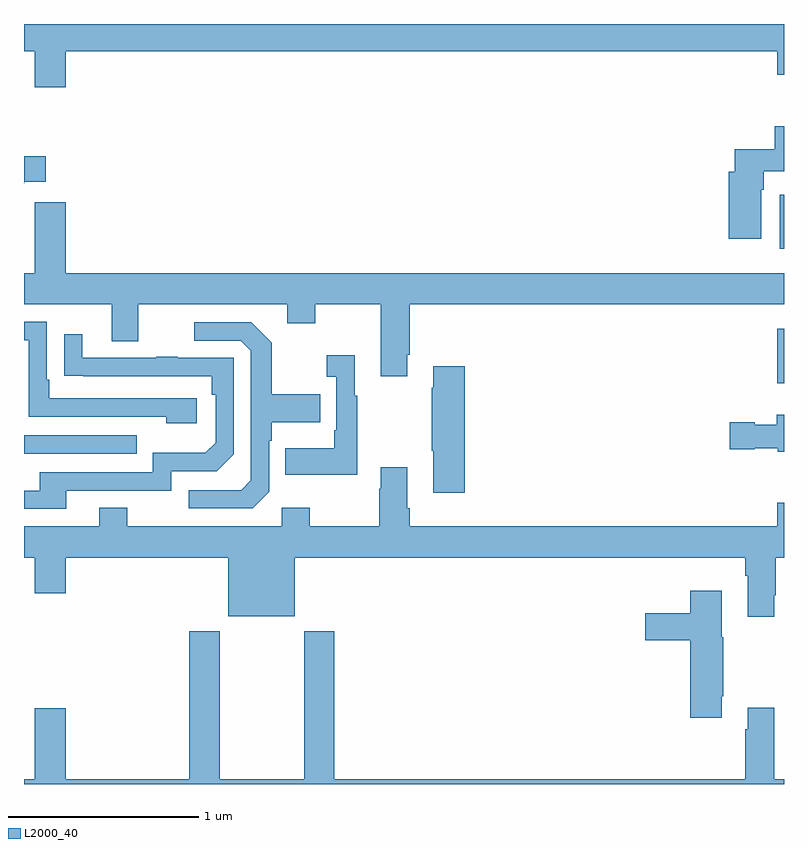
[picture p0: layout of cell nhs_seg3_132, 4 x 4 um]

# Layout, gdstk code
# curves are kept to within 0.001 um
import gdstk
lib = gdstk.Library(unit=1e-6, precision=1e-09)
def R(c, l, rs):  # rectangles x0, y0, x1, y1
    for r in rs: c.add(gdstk.rectangle(r[:2], r[2:], *l))
def P(c, l, *ps):  # polygons
    for p in ps: c.add(gdstk.Polygon(p, *l))
L2000_40 = (2000, 40)

nhs_seg3_132 = lib.new_cell('nhs_seg3_132')
R(nhs_seg3_132, L2000_40, [(117,692.139,117.593,692.235), (120.965,692.51,121,692.797), (120.977,693.216,121,693.502)])
P(nhs_seg3_132, L2000_40, [(117.22,694.256),(120.965,694.256),(120.965,694.132),(121,694.132),(121,694.4),(117,694.4),(117,694.256),(117.056,694.256),(117.056,694.068),(117.22,694.068)],
  [(120.88,693.527),(120.893,693.527),(120.893,693.624),(121,693.624),(121,693.862),(120.95,693.862),(120.95,693.74),(120.74,693.74),(120.74,693.622),(120.71,693.622),(120.71,693.27),(120.88,693.27)],
  [(117.002,693.569),(117.115,693.569),(117.115,693.704),(117,693.704),(117,693.562),(117.002,693.562)],
  [(119.017,692.659),(119.03,692.659),(119.03,692.924),(121,692.924),(121,693.088),(117.22,693.088),(117.22,693.463),(117.056,693.463),(117.056,693.088),(117,693.088),(117,692.924),(117.461,692.924),(117.461,692.73),(117.601,692.73),(117.601,692.924),(118.385,692.924),(118.385,692.825),(118.533,692.825),(118.533,692.924),(118.877,692.924),(118.877,692.547),(119.017,692.547)],
  [(117.91,692.43),(117.133,692.43),(117.133,692.527),(117.12,692.527),(117.12,692.832),(117,692.832),(117,692.736),(117.024,692.736),(117.024,692.334),(117.749,692.334),(117.749,692.3),(117.91,692.3)],
  [(118.29,691.938),(118.29,692.207),(118.303,692.207),(118.303,692.303),(118.559,692.303),(118.559,692.451),(118.303,692.451),(118.303,692.723),(118.197,692.829),(117.897,692.829),(117.897,692.733),(118.14,692.733),(118.194,692.679),(118.194,691.998),(118.143,691.947),(117.867,691.947),(117.867,691.851),(118.203,691.851)],
  [(117.223,691.944),(117.774,691.944),(117.774,692.046),(118.014,692.046),(118.104,692.136),(118.104,692.643),(117.809,692.643),(117.809,692.648),(117.697,692.648),(117.697,692.643),(117.307,692.643),(117.307,692.767),(117.211,692.767),(117.211,692.548),(117.988,692.547),(117.988,692.45),(118.008,692.45),(118.008,692.196),(117.955,692.143),(117.678,692.143),(117.678,692.04),(117.083,692.04),(117.083,691.944),(117,691.944),(117,691.848),(117.223,691.848)],
  [(118.753,692.443),(118.741,692.443),(118.741,692.656),(118.593,692.656),(118.593,692.543),(118.644,692.543),(118.644,692.263),(118.632,692.263),(118.632,692.167),(118.375,692.167),(118.375,692.027),(118.753,692.027)],
  [(119.321,692.599),(119.153,692.599),(119.153,692.486),(119.146,692.486),(119.146,692.155),(119.153,692.155),(119.153,691.932),(119.321,691.932)],
  [(121,692.344),(120.962,692.344),(120.962,692.29),(120.846,692.29),(120.846,692.303),(120.714,692.303),(120.714,692.161),(120.846,692.161),(120.846,692.168),(120.966,692.168),(120.966,692.15),(121,692.15)],
  [(120.949,691.393),(120.957,691.393),(120.957,691.592),(121,691.592),(121,691.88),(120.965,691.88),(120.965,691.756),(119.03,691.756),(119.03,691.852),(119.017,691.852),(119.017,692.068),(118.877,692.068),(118.877,691.955),(118.87,691.955),(118.87,691.756),(118.503,691.756),(118.503,691.855),(118.356,691.855),(118.356,691.756),(117.543,691.756),(117.543,691.855),(117.395,691.855),(117.395,691.756),(117,691.756),(117,691.592),(117.056,691.592),(117.056,691.404),(117.22,691.404),(117.22,691.592),(118.076,691.592),(118.076,691.283),(118.426,691.283),(118.426,691.592),(120.797,691.592),(120.797,691.496),(120.809,691.496),(120.809,691.281),(120.949,691.281)],
  [(120.673,690.862),(120.681,690.862),(120.681,691.173),(120.673,691.173),(120.673,691.417),(120.506,691.417),(120.506,691.299),(120.27,691.299),(120.27,691.157),(120.506,691.157),(120.506,690.75),(120.673,690.75)],
  [(121,690.424),(120.949,690.424),(120.949,690.802),(120.809,690.802),(120.809,690.689),(120.797,690.689),(120.797,690.424),(118.634,690.424),(118.634,691.204),(118.474,691.204),(118.474,690.424),(118.029,690.424),(118.029,691.204),(117.869,691.204),(117.869,690.424),(117.22,690.424),(117.22,690.799),(117.056,690.799),(117.056,690.424),(117,690.424),(117,690.4),(121,690.4)])

lib.write_gds('nhs_seg3_132.gds')
